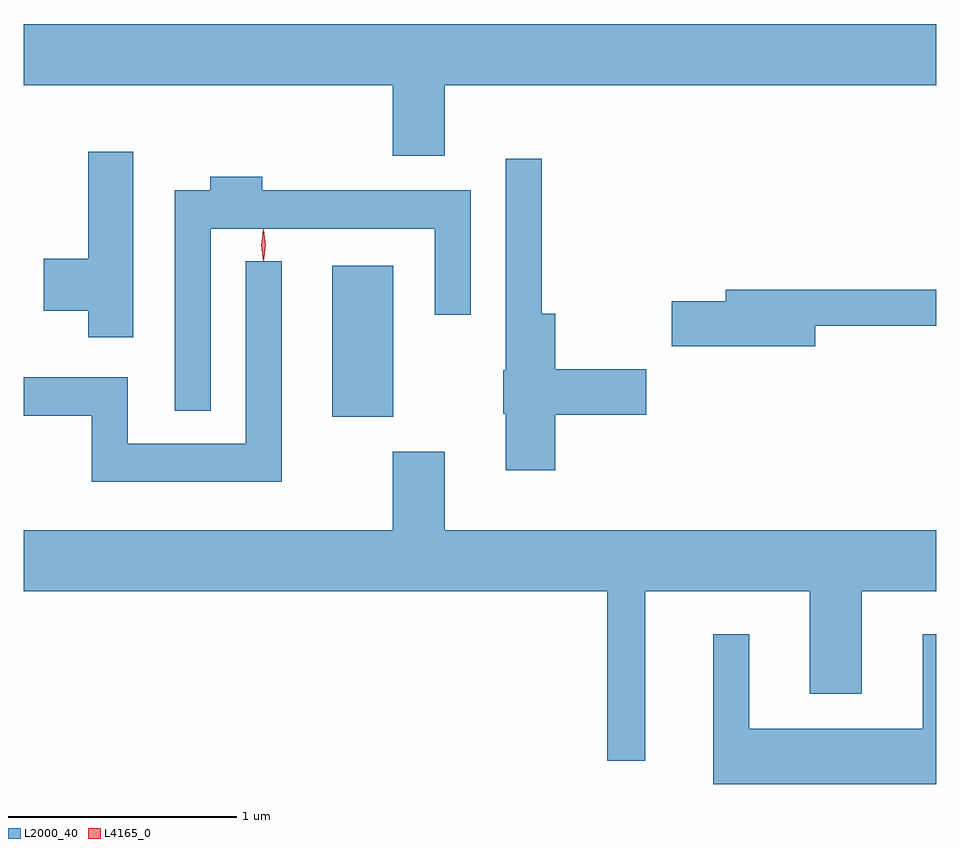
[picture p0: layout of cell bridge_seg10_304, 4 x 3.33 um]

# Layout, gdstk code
import gdstk
lib = gdstk.Library(unit=1e-6, precision=1e-09)
def R(c, l, rs):  # rectangles x0, y0, x1, y1
    for r in rs: c.add(gdstk.rectangle(r[:2], r[2:], *l))
def P(c, l, *ps):  # polygons
    for p in ps: c.add(gdstk.Polygon(p, *l))
L2000_40 = (2000, 40)
L4165_0 = (4165, 0)

bridge_seg10_304 = lib.new_cell('bridge_seg10_304')
R(bridge_seg10_304, L2000_40, [(1422.196,2176.841,1422.464,2177.504)])
P(bridge_seg10_304, L2000_40, [(1422.689,2178.296),(1424.844,2178.296),(1424.844,2178.564),(1420.844,2178.564),(1420.844,2178.296),(1422.461,2178.296),(1422.461,2177.986),(1422.689,2177.986)],
  [(1421.324,2178.004),(1421.126,2178.004),(1421.126,2177.534),(1420.931,2177.534),(1420.931,2177.306),(1421.126,2177.306),(1421.126,2177.191),(1421.324,2177.191)],
  [(1423.174,2176.851),(1423.574,2176.851),(1423.574,2177.049),(1423.174,2177.049),(1423.174,2177.294),(1423.114,2177.294),(1423.114,2177.973),(1422.956,2177.973),(1422.956,2177.045),(1422.946,2177.045),(1422.946,2176.855),(1422.956,2176.855),(1422.956,2176.606),(1423.174,2176.606)],
  [(1421.664,2177.666),(1422.646,2177.666),(1422.646,2177.288),(1422.804,2177.288),(1422.804,2177.834),(1421.889,2177.834),(1421.889,2177.894),(1421.661,2177.894),(1421.661,2177.834),(1421.506,2177.834),(1421.506,2176.868),(1421.664,2176.868)],
  [(1421.974,2177.523),(1421.816,2177.523),(1421.816,2176.724),(1421.299,2176.724),(1421.299,2177.014),(1420.844,2177.014),(1420.844,2176.846),(1421.141,2176.846),(1421.141,2176.556),(1421.974,2176.556)],
  [(1424.314,2177.241),(1424.844,2177.241),(1424.844,2177.399),(1423.921,2177.399),(1423.921,2177.349),(1423.686,2177.349),(1423.686,2177.151),(1424.314,2177.151)],
  [(1423.569,2176.076),(1424.291,2176.076),(1424.291,2175.626),(1424.519,2175.626),(1424.519,2176.076),(1424.844,2176.076),(1424.844,2176.344),(1422.689,2176.344),(1422.689,2176.689),(1422.461,2176.689),(1422.461,2176.344),(1420.844,2176.344),(1420.844,2176.076),(1423.401,2176.076),(1423.401,2175.333),(1423.569,2175.333)],
  [(1424.844,2175.888),(1424.786,2175.888),(1424.786,2175.474),(1424.024,2175.474),(1424.024,2175.888),(1423.866,2175.888),(1423.866,2175.231),(1424.844,2175.231)])
P(bridge_seg10_304, L4165_0, [(1421.895,2177.527),(1421.894,2177.528),(1421.885,2177.594),(1421.894,2177.66),(1421.895,2177.661),(1421.896,2177.66),(1421.905,2177.594),(1421.896,2177.528)],
  [(1421.894,2177.524),(1421.885,2177.593),(1421.894,2177.663),(1421.895,2177.663),(1421.896,2177.663),(1421.905,2177.593),(1421.896,2177.524),(1421.895,2177.524)])

lib.write_gds('bridge_seg10_304.gds')
